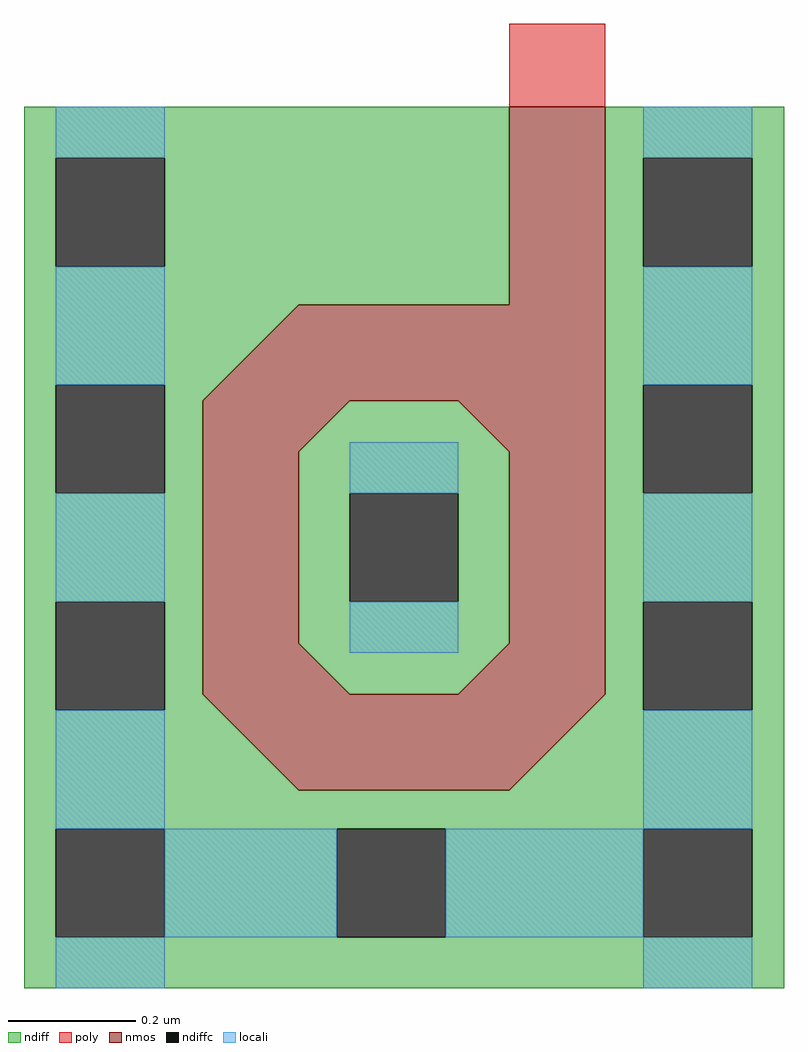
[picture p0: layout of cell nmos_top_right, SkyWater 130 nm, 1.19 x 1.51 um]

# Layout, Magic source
magic
tech sky130A
magscale 1 2
<< nmos >>
rect 152 214 182 276
tri 56 184 86 214 se
rect 86 184 182 214
rect 56 92 86 184
tri 86 168 102 184 nw
tri 136 168 152 184 ne
tri 86 92 102 108 sw
tri 136 92 152 108 se
rect 152 92 182 184
tri 56 62 86 92 ne
rect 86 62 152 92
tri 152 62 182 92 nw
<< ndiff >>
rect 0 260 152 276
rect 0 226 10 260
rect 44 226 152 260
rect 0 214 152 226
rect 182 260 238 276
rect 182 226 194 260
rect 228 226 238 260
rect 0 189 56 214
rect 0 155 10 189
rect 44 155 56 189
tri 56 184 86 214 nw
rect 182 189 238 226
rect 0 121 56 155
rect 0 87 10 121
rect 44 87 56 121
tri 86 168 102 184 se
rect 102 168 136 184
tri 136 168 152 184 sw
rect 86 155 152 168
rect 86 121 102 155
rect 136 121 152 155
rect 86 108 152 121
tri 86 92 102 108 ne
rect 102 92 136 108
tri 136 92 152 108 nw
rect 182 155 194 189
rect 228 155 238 189
rect 182 121 238 155
rect 0 62 56 87
tri 56 62 86 92 sw
tri 152 62 182 92 se
rect 182 87 194 121
rect 228 87 238 121
rect 182 62 238 87
rect 0 50 238 62
rect 0 16 10 50
rect 44 16 98 50
rect 132 16 194 50
rect 228 16 238 50
rect 0 0 238 16
<< ndiffc >>
rect 10 226 44 260
rect 194 226 228 260
rect 10 155 44 189
rect 10 87 44 121
rect 102 121 136 155
rect 194 155 228 189
rect 194 87 228 121
rect 10 16 44 50
rect 98 16 132 50
rect 194 16 228 50
<< poly >>
rect 152 276 182 302
<< locali >>
rect 10 260 44 276
rect 10 189 44 226
rect 194 260 228 276
rect 194 189 228 226
rect 10 121 44 155
rect 102 155 136 171
rect 102 105 136 121
rect 194 121 228 155
rect 10 50 44 87
rect 194 50 228 87
rect 44 16 98 50
rect 132 16 194 50
rect 10 0 44 16
rect 194 0 228 16
<< end >>
